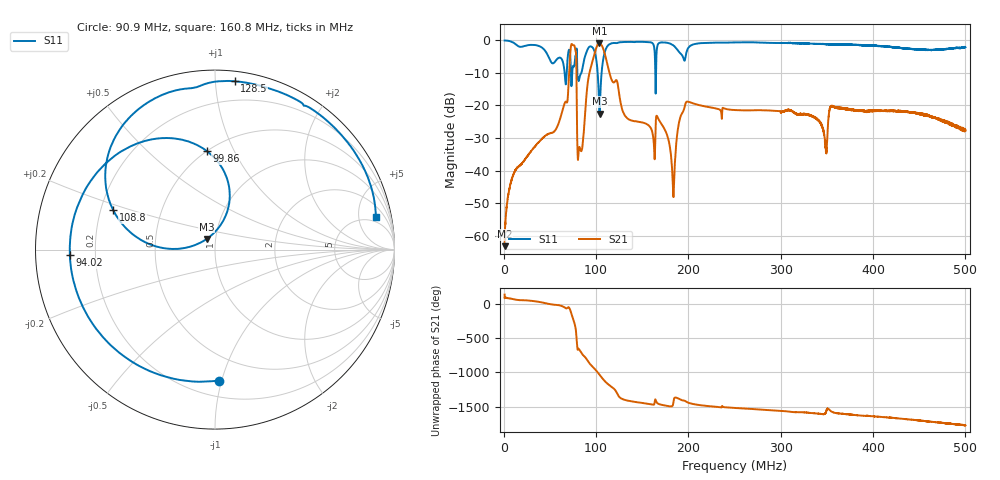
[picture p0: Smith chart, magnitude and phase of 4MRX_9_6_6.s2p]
! NanoVNA-App
! Date: 2026-08-19 14:53:02
! Start: 1MHz Stop: 500MHz Points: 6401
! S-Parameter data: F S11 S21 S12 S22
# Hz S RI R 50
!  Frequency  S11_Real  S11_Imag  S21_Real  S21_Imag  S12_Real  S12_Imag  S22_Real  S22_Imag
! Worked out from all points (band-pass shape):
!   6401 points, 1 MHz to 500 MHz, reference 50 ohm
!   highest |S21| = -0.89 dB at 103.7 MHz (marker M1); lowest = -63.2 dB at 1 MHz (marker M2)
!   |S21| within 3 dB of the highest: 72.13 MHz to 78.36 MHz (6.228 MHz wide, 8.28 % of centre); 98.53 MHz to 109.3 MHz (10.74 MHz wide, 10.3 % of centre)
!   lowest |S11| = -22.5 dB at 103.8 MHz (marker M3), VSWR 1.16, Z = 45.2 + j5.35 ohm
!   |S11| at or under -10 dB: 66 MHz to 68.23 MHz (2.223 MHz wide, 3.31 % of centre); 79.69 MHz to 84.11 MHz (4.425 MHz wide, 5.4 % of centre); 101.8 MHz to 106 MHz (4.262 MHz wide, 4.1 % of centre)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
!   S12 and S22 are empty: the file has one direction only
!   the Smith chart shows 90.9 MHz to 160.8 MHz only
!   S11 on the Smith chart (normalised r, x): 90.9 MHz: 0.31, -0.98; 94.02 MHz: 0.11, -0.02; 99.86 MHz: 0.50, +0.79; 108.8 MHz: 0.25, +0.18; 128.5 MHz: 0.07, +1.12; 160.8 MHz: 3.77, +8.31
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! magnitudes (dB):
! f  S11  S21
! 1 MHz  0.0  -63.2
! 11.99 MHz  -0.9  -40.3
! 59.55 MHz  -5.4  -25.4
! 74.68 MHz  -8.4  -1.4
! 81.62 MHz  -12.1  -33.0
! 84.19 MHz  -9.9  -34.0
! 90.9 MHz  -2.7  -13.3
! 94.02 MHz  -1.8  -8.7
! 99.86 MHz  -5.2  -2.6
! 103.7 MHz  -22.2  -0.9
! 103.8 MHz  -22.5  -0.9
! 108.8 MHz  -4.3  -3.5
! 128.5 MHz  -0.5  -21.3
! 160.8 MHz  -0.8  -28.0
! 167.4 MHz  -1.0  -24.0
! 183.5 MHz  -1.5  -47.0
! 198.5 MHz  -3.1  -18.8
! 250.5 MHz  -0.6  -21.4
! 333.7 MHz  -1.0  -23.1
! 348.4 MHz  -1.2  -32.4
! 416.9 MHz  -1.9  -21.7
! 500 MHz  -2.1  -27.7
